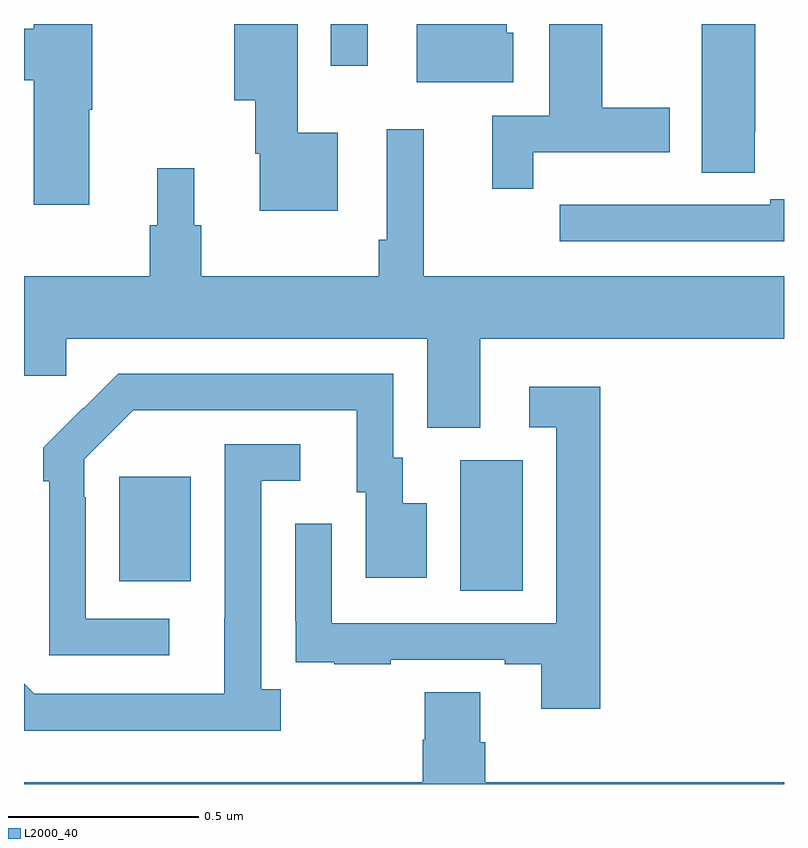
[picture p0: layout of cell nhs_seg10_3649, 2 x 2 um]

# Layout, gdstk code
import gdstk
lib = gdstk.Library(unit=1e-6, precision=1e-09)
def R(c, l, rs):  # rectangles x0, y0, x1, y1
    for r in rs: c.add(gdstk.rectangle(r[:2], r[2:], *l))
def P(c, l, *ps):  # polygons
    for p in ps: c.add(gdstk.Polygon(p, *l))
L2000_40 = (2000, 40)

nhs_seg10_3649 = lib.new_cell('nhs_seg10_3649')
R(nhs_seg10_3649, L2000_40, [(157.148,1277.008,157.312,1277.352), (156.251,1277.033,156.439,1277.308), (156.807,1278.39,156.904,1278.5)])
P(nhs_seg10_3649, L2000_40, [(156.826,1278.214),(156.72,1278.214),(156.72,1278.5),(156.553,1278.5),(156.553,1278.299),(156.609,1278.299),(156.609,1278.158),(156.621,1278.158),(156.621,1278.008),(156.826,1278.008)],
  [(157.34,1278.162),(157.699,1278.162),(157.699,1278.279),(157.522,1278.279),(157.522,1278.5),(157.382,1278.5),(157.382,1278.258),(157.232,1278.258),(157.232,1278.066),(157.34,1278.066)],
  [(157.923,1278.217),(157.924,1278.217),(157.924,1278.5),(157.784,1278.5),(157.784,1278.109),(157.923,1278.109)],
  [(156.172,1278.275),(156.18,1278.275),(156.18,1278.5),(156.026,1278.5),(156.026,1278.488),(156,1278.488),(156,1278.352),(156.026,1278.352),(156.026,1278.024),(156.172,1278.024)],
  [(157.288,1278.477),(157.27,1278.477),(157.27,1278.5),(157.034,1278.5),(157.034,1278.347),(157.288,1278.347)],
  [(157.201,1277.672),(158,1277.672),(158,1277.836),(157.052,1277.836),(157.052,1278.223),(156.954,1278.223),(156.954,1277.932),(156.934,1277.932),(156.934,1277.836),(156.467,1277.836),(156.467,1277.97),(156.448,1277.97),(156.448,1278.121),(156.35,1278.121),(156.35,1277.97),(156.331,1277.97),(156.331,1277.836),(156,1277.836),(156,1277.574),(156.111,1277.574),(156.111,1277.672),(157.061,1277.672),(157.061,1277.437),(157.201,1277.437)],
  [(158,1278.039),(157.964,1278.039),(157.964,1278.024),(157.688,1278.024),(157.688,1278.025),(157.522,1278.025),(157.522,1278.024),(157.41,1278.024),(157.41,1277.928),(158,1277.928)],
  [(156.382,1276.935),(156.162,1276.935),(156.162,1277.255),(156.159,1277.255),(156.159,1277.355),(156.288,1277.484),(156.875,1277.484),(156.875,1277.268),(156.899,1277.268),(156.899,1277.043),(157.06,1277.043),(157.06,1277.239),(156.997,1277.239),(156.997,1277.358),(156.972,1277.358),(156.972,1277.58),(156.248,1277.58),(156.157,1277.489),(156.156,1277.49),(156.051,1277.385),(156.051,1277.297),(156.066,1277.297),(156.066,1276.839),(156.382,1276.839)],
  [(157.517,1277.545),(157.329,1277.545),(157.329,1277.439),(157.401,1277.439),(157.401,1276.923),(156.81,1276.923),(156.81,1277.185),(156.714,1277.185),(156.714,1276.93),(156.715,1276.93),(156.715,1276.821),(156.817,1276.821),(156.817,1276.815),(156.965,1276.815),(156.965,1276.827),(157.265,1276.827),(157.265,1276.815),(157.361,1276.815),(157.361,1276.698),(157.517,1276.698)],
  [(156.676,1276.75),(156.624,1276.75),(156.624,1277.298),(156.727,1277.298),(156.727,1277.394),(156.528,1277.394),(156.528,1276.937),(156.527,1276.937),(156.527,1276.737),(156.027,1276.737),(156,1276.764),(156,1276.64),(156.676,1276.64)],
  [(158,1276.504),(157.214,1276.504),(157.214,1276.61),(157.201,1276.61),(157.201,1276.742),(157.054,1276.742),(157.054,1276.617),(157.049,1276.617),(157.049,1276.504),(156,1276.504),(156,1276.5),(158,1276.5)])

lib.write_gds('nhs_seg10_3649.gds')
